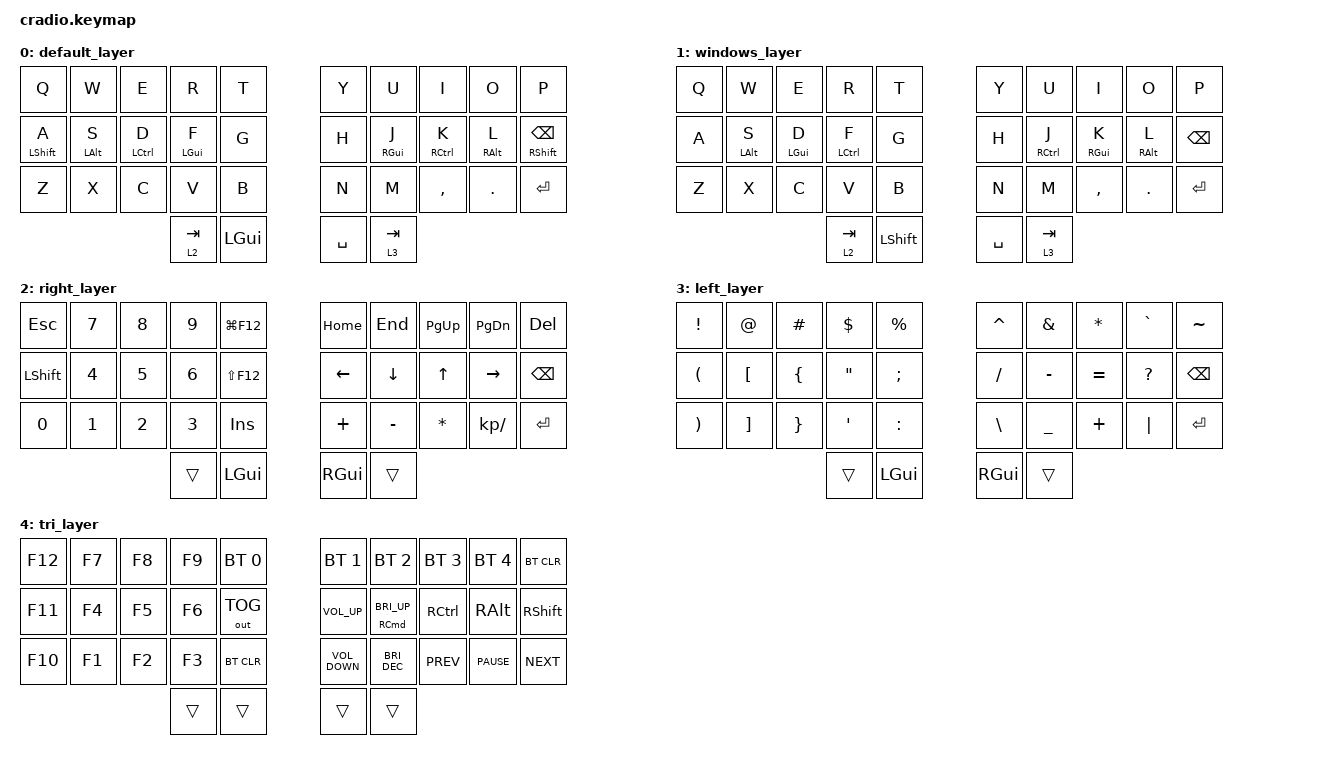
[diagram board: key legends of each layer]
// Copyright (c) 2022 The ZMK Contributors
// SPDX-License-Identifier: MIT

#include <behaviors.dtsi>
#include <dt-bindings/zmk/bt.h>
#include <dt-bindings/zmk/keys.h>
#include <dt-bindings/zmk/outputs.h>

#define MAC 0
#define WIN 1
#define RIG 2
#define LEF 3
#define TRI 4

/ {
    behaviors {
        ht: hold_tap {
            label = "hold_tap";
            compatible = "zmk,behavior-hold-tap";
            #binding-cells = <2>;
            flavor = "tap-preferred";
            tapping-term-ms = <220>;
            quick-tap-ms = <150>;
            global-quick-tap;
            bindings = <&kp>, <&kp>;
        };
    };

    conditional_layers {
        compatible = "zmk,conditional-layers";

        tri_layer {
            if-layers = <RIG LEF>;
            then-layer = <TRI>;
        };
    };

    keymap {
        compatible = "zmk,keymap";

        default_layer {
            bindings = <
&kp Q             &kp W       &kp E        &kp R       &kp T           &kp Y      &kp U       &kp I        &kp O       &kp P
&ht LEFT_SHIFT A  &ht LALT S  &ht LCTRL D  &ht LGUI F  &kp G           &kp H      &ht RGUI J  &ht RCTRL K  &ht RALT L  &ht RIGHT_SHIFT BACKSPACE
&kp Z             &kp X       &kp C        &kp V       &kp B           &kp N      &kp M       &kp COMMA    &kp DOT     &kp ENTER
                                           &lt 2 TAB   &kp LEFT_GUI    &kp SPACE  &lt 3 TAB
            >;
        };

        windows_layer {
            bindings = <
&kp Q  &kp W       &kp E       &kp R        &kp T         &kp Y      &kp U        &kp I       &kp O       &kp P
&kp A  &ht LALT S  &ht LGUI D  &ht LCTRL F  &kp G         &kp H      &ht RCTRL J  &ht RGUI K  &ht RALT L  &kp BSPC
&kp Z  &kp X       &kp C       &kp V        &kp B         &kp N      &kp M        &kp COMMA   &kp DOT     &kp ENTER
                               &lt 2 TAB    &kp LSHIFT    &kp SPACE  &lt 3 TAB
            >;
        };

        right_layer {
            bindings = <
&kp ESCAPE      &kp NUMBER_7  &kp NUMBER_8  &kp NUMBER_9  &kp LG(F12)     &kp HOME        &kp END         &kp PAGE_UP   &kp PAGE_DOWN  &kp DELETE
&kp LEFT_SHIFT  &kp NUMBER_4  &kp NUMBER_5  &kp NUMBER_6  &kp LS(F12)     &kp LEFT_ARROW  &kp DOWN_ARROW  &kp UP_ARROW  &kp RIGHT      &kp BACKSPACE
&kp NUMBER_0    &kp NUMBER_1  &kp NUMBER_2  &kp NUMBER_3  &kp INS         &kp PLUS        &kp MINUS       &kp STAR      &kp KP_DIVIDE  &kp ENTER
                                            &trans        &kp LEFT_GUI    &kp RIGHT_GUI   &trans
            >;
        };

        left_layer {
            bindings = <
&kp EXCL               &kp AT    &kp HASH  &kp DLLR           &kp PRCNT       &kp CARET      &kp AMPS   &kp ASTRK  &kp GRAVE  &kp TILDE
&kp LEFT_PARENTHESIS   &kp LBKT  &kp LBRC  &kp DOUBLE_QUOTES  &kp SEMI        &kp FSLH       &kp MINUS  &kp EQUAL  &kp QMARK  &kp BACKSPACE
&kp RIGHT_PARENTHESIS  &kp RBKT  &kp RBRC  &kp SQT            &kp COLON       &kp BSLH       &kp UNDER  &kp PLUS   &kp PIPE   &kp ENTER
                                           &trans             &kp LEFT_GUI    &kp RIGHT_GUI  &trans
            >;
        };

        tri_layer {
            bindings = <
&kp F12  &kp F7  &kp F8  &kp F9  &bt BT_SEL 0    &bt BT_SEL 1       &bt BT_SEL 2                &bt BT_SEL 3       &bt BT_SEL 4   &bt BT_CLR
&kp F11  &kp F4  &kp F5  &kp F6  &out OUT_TOG    &kp C_VOLUME_UP    &ht RIGHT_COMMAND C_BRI_UP  &kp RIGHT_CONTROL  &kp RIGHT_ALT  &kp RIGHT_SHIFT
&kp F10  &kp F1  &kp F2  &kp F3  &bt BT_CLR      &kp K_VOLUME_DOWN  &kp C_BRI_DEC               &kp C_PREV         &kp C_PAUSE    &kp C_NEXT
                         &trans  &trans          &trans             &trans
            >;
        };
    };
};
